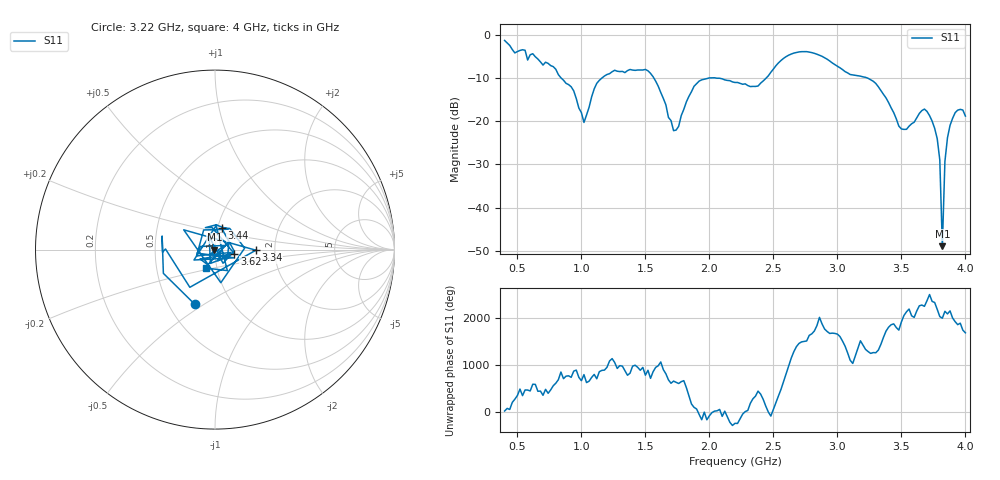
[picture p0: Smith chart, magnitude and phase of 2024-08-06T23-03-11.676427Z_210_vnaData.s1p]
!Created with skrf (http://scikit-rf.org).
# Hz S RI R 50.0
!freq ReS11 ImS11
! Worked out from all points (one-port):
!   181 points, 400 MHz to 4 GHz, reference 50 ohm
!   lowest |S11| = -49.0 dB at 3.82 GHz (marker M1), VSWR 1.01, Z = 49.7 - j0.0852 ohm
!   |S11| at or under -10 dB: 1.568 GHz to 1.987 GHz (419.3 MHz wide, 23.6 % of centre); 2.084 GHz to 2.441 GHz (357.4 MHz wide, 15.8 % of centre); 3.241 GHz to end of sweep (the widest 3 of 4)
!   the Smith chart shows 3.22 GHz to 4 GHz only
!   S11 on the Smith chart (normalised r, x): 3.22 GHz: 0.67, -0.46; 3.34 GHz: 1.59, -0.01; 3.44 GHz: 1.04, +0.26; 3.62 GHz: 1.24, -0.06; 4 GHz: 0.88, -0.18
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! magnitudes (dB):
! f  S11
! 400 MHz  -1.2
! 860 MHz  -10.4
! 940 MHz  -12.9
! 1.02 GHz  -20.2
! 1.12 GHz  -11.2
! 1.3 GHz  -8.4
! 1.52 GHz  -8.2
! 1.72 GHz  -22.2
! 1.76 GHz  -21.1
! 1.92 GHz  -10.6
! 2.2 GHz  -11.0
! 2.38 GHz  -11.8
! 2.66 GHz  -4.1
! 3.1 GHz  -9.1
! 3.22 GHz  -9.8
! 3.34 GHz  -12.9
! 3.44 GHz  -18.0
! 3.5 GHz  -21.7
! 3.56 GHz  -21.1
! 3.62 GHz  -19.2
! 3.7 GHz  -17.7
! 3.78 GHz  -24.0
! 3.8 GHz  -28.9
! 3.82 GHz  -49.0
! 3.84 GHz  -29.3
! 3.86 GHz  -23.8
! 3.92 GHz  -18.0
! 4 GHz  -18.8
